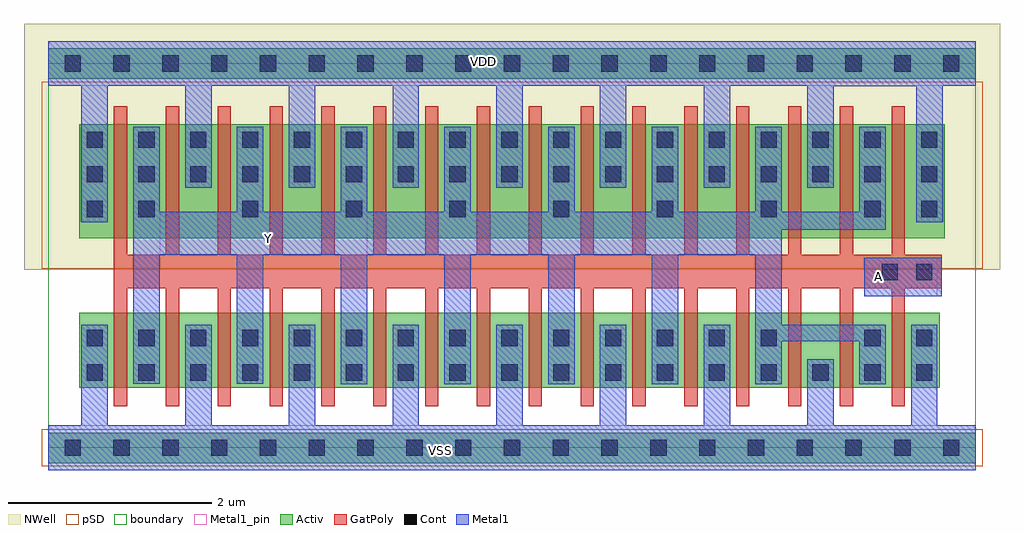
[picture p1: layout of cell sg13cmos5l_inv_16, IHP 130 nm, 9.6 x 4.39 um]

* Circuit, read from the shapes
.subckt sg13cmos5l_inv_16 A VDD VSS Y
XM1 Y A VSS VSS sg13_lv_nmos w=0.74u l=0.13u m=16
XM2 Y A VDD VDD sg13_lv_pmos w=1.12u l=0.13u m=16
.ends

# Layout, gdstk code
import gdstk
lib = gdstk.Library(unit=1e-6, precision=1e-09)
def R(c, l, rs):  # rectangles x0, y0, x1, y1
    for r in rs: c.add(gdstk.rectangle(r[:2], r[2:], *l))
def A(c, l, x, y, w, h, nx, ny, dx, dy):  # array of equal rectangles
    R(c, l, [(x+i*dx, y+j*dy, x+i*dx+w, y+j*dy+h) for i in range(nx) for j in range(ny)])
def P(c, l, *ps):  # polygons
    for p in ps: c.add(gdstk.Polygon(p, *l))
Activ = (1, 0)
GatPoly = (5, 0)
Cont = (6, 0)
Metal1 = (8, 0)
Metal1_pin = (8, 2)
pSD = (14, 0)
NWell = (31, 0)
boundary = (189, 4)

sg13cmos5l_inv_16 = lib.new_cell('sg13cmos5l_inv_16')
R(sg13cmos5l_inv_16, Activ, [(0,-0.15,9.12,0.15), (0.305,0.59,8.765,1.33), (0.305,2.06,8.815,3.18), (0,3.63,9.12,3.93)])
R(sg13cmos5l_inv_16, GatPoly, [(8.425,1.57,8.785,1.9)])
P(sg13cmos5l_inv_16, GatPoly, [(0.645,0.41),(0.645,3.36),(0.775,3.36),(0.775,1.9),(1.155,1.9),(1.155,3.36),(1.285,3.36),(1.285,1.9),(1.665,1.9),(1.665,3.36),(1.795,3.36),(1.795,1.9),(2.175,1.9),(2.175,3.36),(2.305,3.36),(2.305,1.9),(2.685,1.9),(2.685,3.36),(2.815,3.36),(2.815,1.9),(3.195,1.9),(3.195,3.36),(3.325,3.36),(3.325,1.9),(3.705,1.9),(3.705,3.36),(3.835,3.36),(3.835,1.9),(4.215,1.9),(4.215,3.36),(4.345,3.36),(4.345,1.9),(4.725,1.9),(4.725,3.36),(4.855,3.36),(4.855,1.9),(5.235,1.9),(5.235,3.36),(5.365,3.36),(5.365,1.9),(5.745,1.9),(5.745,3.36),(5.875,3.36),(5.875,1.9),(6.255,1.9),(6.255,3.36),(6.385,3.36),(6.385,1.9),(6.765,1.9),(6.765,3.36),(6.895,3.36),(6.895,1.9),(7.275,1.9),(7.275,3.36),(7.405,3.36),(7.405,1.9),(7.785,1.9),(7.785,3.36),(7.915,3.36),(7.915,1.9),(8.295,1.9),(8.295,3.36),(8.425,3.36),(8.425,0.41),(8.295,0.41),(8.295,1.57),(7.915,1.57),(7.915,0.41),(7.785,0.41),(7.785,1.57),(7.405,1.57),(7.405,0.41),(7.275,0.41),(7.275,1.57),(6.895,1.57),(6.895,0.41),(6.765,0.41),(6.765,1.57),(6.385,1.57),(6.385,0.41),(6.255,0.41),(6.255,1.57),(5.875,1.57),(5.875,0.41),(5.745,0.41),(5.745,1.57),(5.365,1.57),(5.365,0.41),(5.235,0.41),(5.235,1.57),(4.855,1.57),(4.855,0.41),(4.725,0.41),(4.725,1.57),(4.345,1.57),(4.345,0.41),(4.215,0.41),(4.215,1.57),(3.835,1.57),(3.835,0.41),(3.705,0.41),(3.705,1.57),(3.325,1.57),(3.325,0.41),(3.195,0.41),(3.195,1.57),(2.815,1.57),(2.815,0.41),(2.685,0.41),(2.685,1.57),(2.305,1.57),(2.305,0.41),(2.175,0.41),(2.175,1.57),(1.795,1.57),(1.795,0.41),(1.665,0.41),(1.665,1.57),(1.285,1.57),(1.285,0.41),(1.155,0.41),(1.155,1.57),(0.775,1.57),(0.775,0.41)])
A(sg13cmos5l_inv_16, Cont, 0.375, 0.66, 0.16, 0.16, 17, 1, 0.51, 0)
A(sg13cmos5l_inv_16, Cont, 0.375, 1, 0.16, 0.16, 14, 1, 0.51, 0)
A(sg13cmos5l_inv_16, Cont, 0.885, 2.27, 0.16, 0.16, 8, 1, 1.02, 0)
A(sg13cmos5l_inv_16, Cont, 8.585, 2.27, 0.16, 0.16, 1, 3, 0, 0.34)
A(sg13cmos5l_inv_16, Cont, 0.375, 2.61, 0.16, 0.16, 16, 2, 0.51, 0.34)
R(sg13cmos5l_inv_16, Cont, [(0.16,-0.08,0.32,0.08), (0.16,-0.08,0.32,0.08), (0.64,-0.08,0.8,0.08), (0.64,-0.08,0.8,0.08), (1.12,-0.08,1.28,0.08), (1.12,-0.08,1.28,0.08), (1.6,-0.08,1.76,0.08), (1.6,-0.08,1.76,0.08), (2.08,-0.08,2.24,0.08), (2.08,-0.08,2.24,0.08), (2.56,-0.08,2.72,0.08), (2.56,-0.08,2.72,0.08), (3.04,-0.08,3.2,0.08), (3.04,-0.08,3.2,0.08), (3.52,-0.08,3.68,0.08), (3.52,-0.08,3.68,0.08), (4,-0.08,4.16,0.08), (4,-0.08,4.16,0.08), (4.48,-0.08,4.64,0.08), (4.48,-0.08,4.64,0.08), (4.96,-0.08,5.12,0.08), (4.96,-0.08,5.12,0.08), (5.44,-0.08,5.6,0.08), (5.44,-0.08,5.6,0.08), (5.92,-0.08,6.08,0.08), (5.92,-0.08,6.08,0.08), (6.4,-0.08,6.56,0.08), (6.4,-0.08,6.56,0.08), (6.88,-0.08,7.04,0.08), (6.88,-0.08,7.04,0.08), (7.36,-0.08,7.52,0.08), (7.36,-0.08,7.52,0.08), (7.84,-0.08,8,0.08), (7.84,-0.08,8,0.08), (8.32,-0.08,8.48,0.08), (8.32,-0.08,8.48,0.08), (8.8,-0.08,8.96,0.08), (8.8,-0.08,8.96,0.08), (8.025,1,8.185,1.16), (8.535,1,8.695,1.16), (8.195,1.65,8.355,1.81), (8.535,1.65,8.695,1.81), (0.375,2.27,0.535,2.43), (0.16,3.7,0.32,3.86), (0.16,3.7,0.32,3.86), (0.64,3.7,0.8,3.86), (0.64,3.7,0.8,3.86), (1.12,3.7,1.28,3.86), (1.12,3.7,1.28,3.86), (1.6,3.7,1.76,3.86), (1.6,3.7,1.76,3.86), (2.08,3.7,2.24,3.86), (2.08,3.7,2.24,3.86), (2.56,3.7,2.72,3.86), (2.56,3.7,2.72,3.86), (3.04,3.7,3.2,3.86), (3.04,3.7,3.2,3.86), (3.52,3.7,3.68,3.86), (3.52,3.7,3.68,3.86), (4,3.7,4.16,3.86), (4,3.7,4.16,3.86), (4.48,3.7,4.64,3.86), (4.48,3.7,4.64,3.86), (4.96,3.7,5.12,3.86), (4.96,3.7,5.12,3.86), (5.44,3.7,5.6,3.86), (5.44,3.7,5.6,3.86), (5.92,3.7,6.08,3.86), (5.92,3.7,6.08,3.86), (6.4,3.7,6.56,3.86), (6.4,3.7,6.56,3.86), (6.88,3.7,7.04,3.86), (6.88,3.7,7.04,3.86), (7.36,3.7,7.52,3.86), (7.36,3.7,7.52,3.86), (7.84,3.7,8,3.86), (7.84,3.7,8,3.86), (8.32,3.7,8.48,3.86), (8.32,3.7,8.48,3.86), (8.8,3.7,8.96,3.86), (8.8,3.7,8.96,3.86)])
R(sg13cmos5l_inv_16, Metal1, [(8.025,1.49,8.785,1.87)])
P(sg13cmos5l_inv_16, Metal1, [(0,-0.22),(0,0.22),(0.325,0.22),(0.325,1.21),(0.585,1.21),(0.585,0.22),(1.345,0.22),(1.345,1.21),(1.605,1.21),(1.605,0.22),(2.365,0.22),(2.365,1.21),(2.625,1.21),(2.625,0.22),(3.385,0.22),(3.385,1.21),(3.645,1.21),(3.645,0.22),(4.405,0.22),(4.405,1.21),(4.665,1.21),(4.665,0.22),(5.425,0.22),(5.425,1.21),(5.685,1.21),(5.685,0.22),(6.445,0.22),(6.445,1.21),(6.705,1.21),(6.705,0.22),(7.465,0.22),(7.465,0.87),(7.725,0.87),(7.725,0.22),(8.485,0.22),(8.485,1.21),(8.745,1.21),(8.745,0.22),(9.12,0.22),(9.12,-0.22)],
  [(0.325,2.22),(0.325,3.56),(0,3.56),(0,4),(9.12,4),(9.12,3.56),(8.795,3.56),(8.795,2.22),(8.535,2.22),(8.535,3.555),(7.725,3.555),(7.725,2.56),(7.465,2.56),(7.465,3.56),(6.705,3.56),(6.705,2.56),(6.445,2.56),(6.445,3.56),(5.685,3.56),(5.685,2.56),(5.425,2.56),(5.425,3.56),(4.665,3.56),(4.665,2.56),(4.405,2.56),(4.405,3.56),(3.645,3.56),(3.645,2.56),(3.385,2.56),(3.385,3.56),(2.625,3.56),(2.625,2.56),(2.365,2.56),(2.365,3.56),(1.605,3.56),(1.605,2.56),(1.345,2.56),(1.345,3.56),(0.585,3.56),(0.585,2.22)],
  [(2.875,0.625),(2.875,1.9),(2.115,1.9),(2.115,0.63),(1.855,0.63),(1.855,1.9),(1.095,1.9),(1.095,0.63),(0.835,0.63),(0.835,3.16),(1.095,3.16),(1.095,2.32),(1.855,2.32),(1.855,3.16),(2.115,3.16),(2.115,2.32),(2.875,2.32),(2.875,3.16),(3.135,3.16),(3.135,2.32),(3.895,2.32),(3.895,3.16),(4.155,3.16),(4.155,2.32),(4.915,2.32),(4.915,3.16),(5.175,3.16),(5.175,2.32),(5.935,2.32),(5.935,3.16),(6.195,3.16),(6.195,2.32),(6.955,2.32),(6.955,3.16),(7.215,3.16),(7.215,2.32),(7.975,2.32),(7.975,3.16),(8.235,3.16),(8.235,2.145),(7.215,2.145),(7.215,1.21),(8.235,1.21),(8.235,0.625),(7.975,0.625),(7.975,1.05),(7.215,1.05),(7.215,0.625),(6.955,0.625),(6.955,1.9),(6.195,1.9),(6.195,0.625),(5.935,0.625),(5.935,1.9),(5.175,1.9),(5.175,0.625),(4.915,0.625),(4.915,1.9),(4.155,1.9),(4.155,0.625),(3.895,0.625),(3.895,1.9),(3.135,1.9),(3.135,0.625)])
R(sg13cmos5l_inv_16, Metal1_pin, [(0,-0.22,9.12,0.22), (8.025,1.49,8.745,1.87), (1.095,1.9,3.135,2.32), (0,3.56,9.12,4)])
R(sg13cmos5l_inv_16, pSD, [(-0.065,-0.18,9.19,0.18), (-0.065,1.76,9.19,3.6)])
R(sg13cmos5l_inv_16, NWell, [(-0.24,1.75,9.36,4.17)])
R(sg13cmos5l_inv_16, boundary, [(0,0,9.12,3.78)])
sg13cmos5l_inv_16.add(gdstk.Label('VSS', (3.86,-0.025), layer=8, texttype=25))
sg13cmos5l_inv_16.add(gdstk.Label('VDD', (4.28,3.795), layer=8, texttype=25))
sg13cmos5l_inv_16.add(gdstk.Label('A', (8.16,1.68), layer=8, texttype=25))
sg13cmos5l_inv_16.add(gdstk.Label('Y', (2.16,2.06), layer=8, texttype=25))

lib.write_gds('sg13cmos5l_inv_16.gds')
